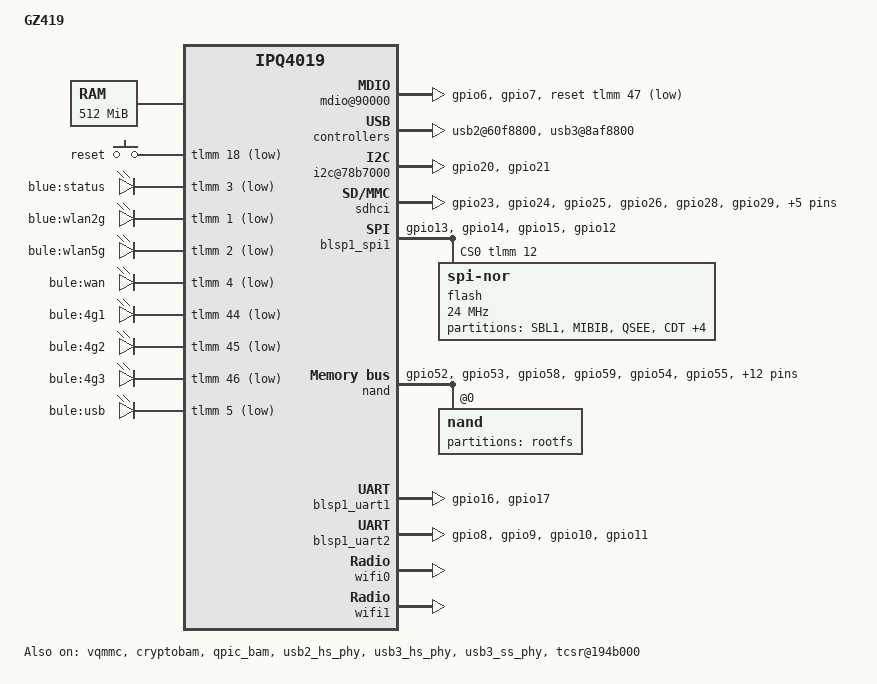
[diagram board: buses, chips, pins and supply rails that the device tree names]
/* SPDX-License-Identifier: GPL-2.0-or-later OR MIT
 *
 * Copyright (c) 2018 Peng Zhang <sd20@qxwlan.com>
 *
 */

#include "qcom-ipq4019.dtsi"
#include <dt-bindings/gpio/gpio.h>
#include <dt-bindings/input/input.h>
#include <dt-bindings/soc/qcom,tcsr.h>

/ {

	model = "GZ419";
	compatible = "pangu,l1000", "qcom,ipq4019";

	memory {
		device_type = "memory";
		reg = <0x80000000 0x20000000>; /* 512MB */
	};

        aliases {
		sdhc1 = &sdhci;
		led-boot = &power;
		led-failsafe = &power;
		led-running = &power;
		led-upgrade = &power;
		serial0 = &blsp1_uart1;
		serial1 = &blsp1_uart2;
        };

	chosen {
		bootargs-append = " root=/dev/ubiblock0_1 rootfstype=squashfs";
		linux,stdout-path = "serial0:115200n8";
	};


	soc {
		rng@22000 {
			status = "okay";
		};

		mdio@90000 {
			status = "okay";
			pinctrl-0 = <&mdio_pins>;
			pinctrl-names = "default";
 			reset-gpios = <&tlmm 47 GPIO_ACTIVE_LOW>;
			reset-delay-us = <2000>;
		};

		ess-psgmii@98000 {
			status = "okay";
		};

		tcsr@1949000 {
			compatible = "qcom,tcsr";
			reg = <0x1949000 0x100>;
			qcom,wifi_glb_cfg = <TCSR_WIFI_GLB_CFG>;
		};

		tcsr@194b000 {
			/* select hostmode */
			compatible = "qcom,tcsr";
			reg = <0x194b000 0x100>;
			qcom,usb-hsphy-mode-select = <TCSR_USB_HSPHY_HOST_MODE>;
			status = "okay";
		};

		ess_tcsr@1953000 {
			compatible = "qcom,tcsr";
			reg = <0x1953000 0x1000>;
			qcom,ess-interface-select = <TCSR_ESS_PSGMII>;
		};

		tcsr@1957000 {
			compatible = "qcom,tcsr";
			reg = <0x1957000 0x100>;
			qcom,wifi_noc_memtype_m0_m2 = <TCSR_WIFI_NOC_MEMTYPE_M0_M2>;
		};

		usb2@60f8800 {
			status = "okay";
		};

		usb3@8af8800 {
			status = "okay";
		};

		crypto@8e3a000 {
			status = "okay";
		};

		watchdog@b017000 {
			status = "okay";
		};

		ess-switch@c000000 {
			status = "okay";
			switch_lan_bmp = <0x18>;
			switch_wan_bmp = <0x20>;
		};

		i2c@78b7000 { /* BLSP1 QUP2 */
			pinctrl-0 = <&i2c_0_pins>;
			pinctrl-names = "default";

			status = "okay";
		};

		edma@c080000 {
			status = "okay";
		};
	};

	keys {
		compatible = "gpio-keys";

		reset {
			label = "reset";
			gpios = <&tlmm 18 GPIO_ACTIVE_LOW>;
			linux,code = <KEY_RESTART>;
		};
	};

	leds {
		compatible = "gpio-leds";

		power: status {
			label = "blue:status";
			gpios = <&tlmm 3 GPIO_ACTIVE_LOW>;
		};

		wlan2g {
			label = "blue:wlan2g";
			gpios = <&tlmm 1 GPIO_ACTIVE_LOW>;
		};

		wlan5g {
			label = "bule:wlan5g";
			gpios = <&tlmm 2 GPIO_ACTIVE_LOW>;
		};

		wan {
			label = "bule:wan";
			gpios = <&tlmm 4 GPIO_ACTIVE_LOW>;
		};     
		4g1 {
			label = "bule:4g1";
			gpios = <&tlmm 44 GPIO_ACTIVE_LOW>;
		};     
		4g2 {
			label = "bule:4g2";
			gpios = <&tlmm 45 GPIO_ACTIVE_LOW>;
		};     
		4g3 {
			label = "bule:4g3";
			gpios = <&tlmm 46 GPIO_ACTIVE_LOW>;
		};     
	    usb {
			label = "bule:usb";
			gpios = <&tlmm 5 GPIO_ACTIVE_LOW>;
			trigger-sources = <&usb2>, <&usb3>;
			linux,default-trigger = "usbport";
		};   
	};
};

&vqmmc {
	status = "okay";
};

&sdhci {
	status = "okay";
	pinctrl-0 = <&sd_pins>;
	pinctrl-names = "default";
	cd-gpios = <&tlmm 22 GPIO_ACTIVE_LOW>;
	vqmmc-supply = <&vqmmc>;
};

&blsp_dma {
	status = "okay";
};

&cryptobam {
	status = "okay";
};

&blsp1_spi1 {
	pinctrl-0 = <&spi_0_pins>;
	pinctrl-names = "default";
	status = "okay";
	cs-gpios = <&tlmm 12 GPIO_ACTIVE_HIGH>;

	flash@0 {
		compatible = "jedec,spi-nor";
		reg = <0>;
		spi-max-frequency = <24000000>;

		partitions {
			compatible = "fixed-partitions";
			#address-cells = <1>;
			#size-cells = <1>;

			SBL1@0 {
				label = "SBL1";
				reg = <0x0 0x40000>;
				read-only;
			};

			MIBIB@40000 {
				label = "MIBIB";
				reg = <0x40000 0x20000>;
			};

			QSEE@60000 {
				label = "QSEE";
				reg = <0x60000 0x60000>;
				read-only;
			};

			CDT@c0000 {
				label = "CDT";
				reg = <0xc0000 0x10000>;
				read-only;
			};

			DDRPARAMS@d0000 {
				label = "DDRPARAMS";
				reg = <0xd0000 0x10000>;
				read-only;
			};

			APPSBLENV@e0000 {
				label = "APPSBLENV";
				reg = <0xe0000 0x10000>;
			};

			APPSBL@f0000 {
				label = "APPSBL";
				reg = <0xf0000 0x80000>;
			};

			ART@170000 {
				label = "ART";
				reg = <0x170000 0x10000>;
			};
		};
	};
};

&nand {
	pinctrl-0 = <&nand_pins>;
	pinctrl-names = "default";
	status = "okay";

	nand@0 {
		partitions {
			compatible = "fixed-partitions";
			#address-cells = <1>;
			#size-cells = <1>;

			rootfs@0 {
				label = "rootfs";
				reg = <0x0 0x8000000>;
			};
		};
	};
};

&qpic_bam {
	status = "okay";
};

&blsp1_uart1 {
	pinctrl-0 = <&serial_pins>;
	pinctrl-names = "default";
	status = "okay";
};

&blsp1_uart2 {
	pinctrl-0 = <&serial_1_pins>;
	pinctrl-names = "default";
	status = "okay";
};

&tlmm {
	serial_pins: serial_pinmux {
		mux {
			pins = "gpio16", "gpio17";
			function = "blsp_uart0";
			bias-disable;
		};
	};

	mdio_pins: mdio_pinmux {
		mux_1 {
			pins = "gpio6";
			function = "mdio";
			bias-pull-up;
		};
		mux_2 {
			pins = "gpio7";
			function = "mdc";
			bias-pull-up;
		};
	};

	serial_1_pins: serial1_pinmux {
		mux {
			pins = "gpio8", "gpio9",
				"gpio10", "gpio11";
			function = "blsp_uart1";
			bias-disable;
		};
	};

	i2c_0_pins: i2c-0-pinmux {
		mux {
			pins = "gpio20", "gpio21";
			function = "blsp_i2c0";
			bias-disable;
		};
	};

	spi_0_pins: spi_0_pinmux {
		pinmux {
			function = "blsp_spi0";
			pins = "gpio13", "gpio14", "gpio15";
		};
		pinmux_cs {
			function = "gpio";
			pins = "gpio12";
		};
		pinconf {
			pins = "gpio13", "gpio14", "gpio15";
			drive-strength = <12>;
			bias-disable;
		};
		pinconf_cs {
			pins = "gpio12";
			drive-strength = <2>;
			bias-disable;
			output-high;
		};
	};

	nand_pins: nand_pins {
		pullups {
			pins = "gpio52", "gpio53", "gpio58",
				"gpio59";
			function = "qpic";
			bias-pull-up;
		};

		pulldowns {
			pins = "gpio54", "gpio55", "gpio56",
				"gpio57", "gpio60", "gpio61",
				"gpio62", "gpio63", "gpio64",
				"gpio65", "gpio66", "gpio67",
				"gpio68", "gpio69";
			function = "qpic";
			bias-pull-down;
		};
	};

	sd_pins: sd_pins {
		pinmux {
			function = "sdio";
			pins = "gpio23", "gpio24", "gpio25", "gpio26",
				"gpio28", "gpio29", "gpio30", "gpio31";
			drive-strength = <10>;
		};

		pinmux_sd_clk {
			function = "sdio";
			pins = "gpio27";
			drive-strength = <16>;
		};

		pinmux_sd7 {
			function = "sdio";
			pins = "gpio32";
			drive-strength = <10>;
			bias-disable;
		};
	};
};

&usb2_hs_phy {
	status = "okay";
};

&usb3_hs_phy {
	status = "okay";
};

&usb3_ss_phy {
	status = "okay";
};

&wifi0 {
	status = "okay";
	qcom,ath10k-calibration-variant = "PANGU-L1000";
};

&wifi1 {
	status = "okay";
	qcom,ath10k-calibration-variant = "PANGU-L1000";
};
